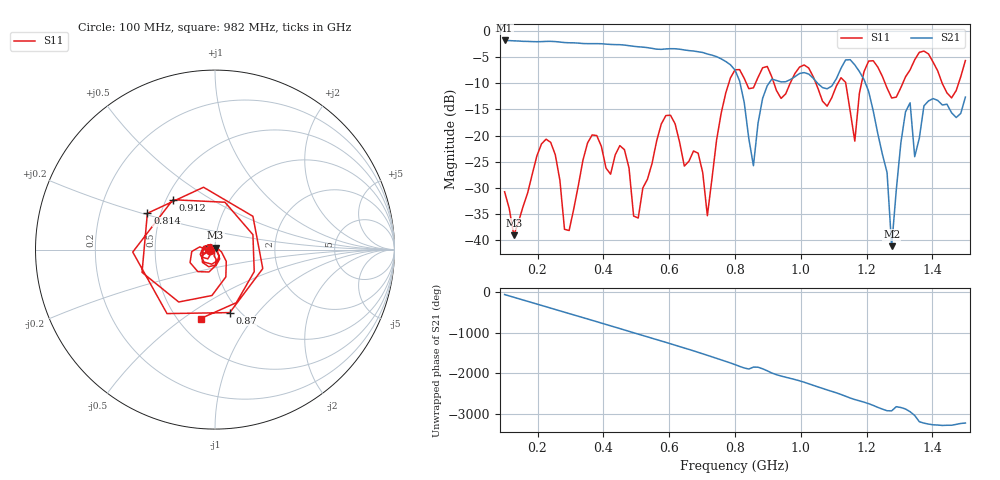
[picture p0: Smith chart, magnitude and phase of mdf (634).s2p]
! NanoVNA-App
! Date: 2025-09-25 15:43:21
! Start: 100MHz Stop: 1,5GHz Points: 101
! S-Parameter data: F S11 S21 S12 S22
# Hz S RI R 50
!  Frequency  S11_Real  S11_Imag  S21_Real  S21_Imag  S12_Real  S12_Imag  S22_Real  S22_Imag
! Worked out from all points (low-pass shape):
!   101 points, 100 MHz to 1.5 GHz, reference 50 ohm
!   highest |S21| = -1.80 dB at 100 MHz (marker M1); lowest = -41.1 dB at 1.276 GHz (marker M2)
!   |S21| within 3 dB of the highest: start of sweep to 739.4 MHz
!   lowest |S11| = -39.0 dB at 128 MHz (marker M3), VSWR 1.02, Z = 50.3 + j1.07 ohm
!   |S11| at or under -10 dB: start of sweep to 781 MHz; 1.046 GHz to 1.113 GHz (66.7 MHz wide, 6.18 % of centre); 1.256 GHz to 1.31 GHz (53.31 MHz wide, 4.16 % of centre)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
!   S12 and S22 are empty: the file has one direction only
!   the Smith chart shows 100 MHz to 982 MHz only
!   S11 on the Smith chart (normalised r, x): 100 MHz: 0.94, -0.01; 814 MHz: 0.42, +0.21; 870 MHz: 0.90, -0.73; 912 MHz: 0.54, +0.35; 982 MHz: 0.64, -0.58
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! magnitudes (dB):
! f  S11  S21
! 100 MHz  -30.7  -1.8
! 128 MHz  -39.0  -1.9
! 212 MHz  -21.6  -2.0
! 282 MHz  -37.9  -2.2
! 338 MHz  -24.7  -2.4
! 464 MHz  -22.7  -2.7
! 506 MHz  -35.7  -3.0
! 576 MHz  -17.8  -3.5
! 716 MHz  -35.3  -4.4
! 800 MHz  -7.4  -7.5
! 814 MHz  -7.4  -9.6
! 856 MHz  -10.9  -25.8
! 870 MHz  -8.9  -17.6
! 912 MHz  -8.8  -9.2
! 982 MHz  -8.1  -8.7
! 1.038 GHz  -8.8  -9.0
! 1.164 GHz  -21.0  -6.5
! 1.192 GHz  -7.8  -9.3
! 1.276 GHz  -12.8  -41.1
! 1.318 GHz  -8.8  -15.5
! 1.346 GHz  -5.5  -24.0
! 1.5 GHz  -5.7  -12.6
